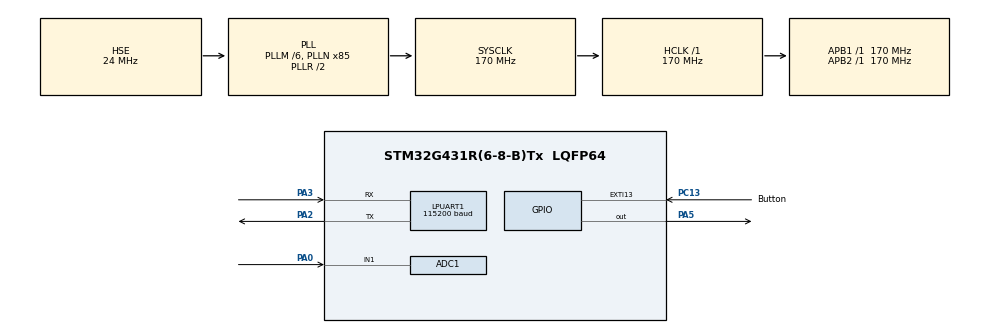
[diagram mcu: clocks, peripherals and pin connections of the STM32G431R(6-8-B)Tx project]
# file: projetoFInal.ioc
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ADC1.Channel-0\#ChannelRegularConversion=ADC_CHANNEL_1
ADC1.ContinuousConvMode=ENABLE
ADC1.DMAContinuousRequests=ENABLE
ADC1.ExternalTrigConv=ADC_SOFTWARE_START
ADC1.ExternalTrigConvEdge=ADC_EXTERNALTRIGCONVEDGE_NONE
ADC1.NbrOfConversionFlag=1
ADC1.OffsetNumber-0\#ChannelRegularConversion=ADC_OFFSET_NONE
ADC1.Rank-0\#ChannelRegularConversion=1
ADC1.SamplingTime-0\#ChannelRegularConversion=ADC_SAMPLETIME_2CYCLES_5
ADC1.master=1
Dma.ADC1.0.Direction=DMA_PERIPH_TO_MEMORY
Dma.ADC1.0.EventEnable=DISABLE
Dma.ADC1.0.Instance=DMA1_Channel1
Dma.ADC1.0.MemDataAlignment=DMA_MDATAALIGN_HALFWORD
Dma.ADC1.0.MemInc=DMA_MINC_ENABLE
Dma.ADC1.0.Mode=DMA_CIRCULAR
Dma.ADC1.0.PeriphDataAlignment=DMA_PDATAALIGN_HALFWORD
Dma.ADC1.0.PeriphInc=DMA_PINC_DISABLE
Dma.ADC1.0.Polarity=HAL_DMAMUX_REQ_GEN_RISING
Dma.ADC1.0.Priority=DMA_PRIORITY_LOW
Dma.ADC1.0.RequestNumber=1
Dma.ADC1.0.SignalID=NONE
Dma.ADC1.0.SyncEnable=DISABLE
Dma.ADC1.0.SyncPolarity=HAL_DMAMUX_SYNC_NO_EVENT
Dma.ADC1.0.SyncRequestNumber=1
Dma.ADC1.0.SyncSignalID=NONE
Dma.Request0=ADC1
FREERTOS.Tasks01=defaultTask,0,128,StartDefaultTask,Default,NULL,Dynamic,NULL,NULL
FREERTOS.configENABLE_FPU=1
FREERTOS.configTOTAL_HEAP_SIZE=8196
FREERTOS.configUSE_NEWLIB_REENTRANT=1
LPUART1.BaudRate=115200
Mcu.Family=STM32G4
Mcu.Name=STM32G431R(6-8-B)Tx
Mcu.Package=LQFP64
NVIC.ADC1_2_IRQn=true\:5\:0\:false\:false\:true\:true\:true\:true\:true
NVIC.DMA1_Channel1_IRQn=true\:5\:0\:false\:false\:true\:true\:false\:true\:true
NVIC.EXTI15_10_IRQn=true\:5\:0\:false\:false\:true\:true\:true\:true\:true
NVIC.LPUART1_IRQn=true\:5\:0\:false\:false\:true\:true\:true\:true\:true
NVIC.PriorityGroup=NVIC_PRIORITYGROUP_4
NVIC.TIM1_UP_TIM16_IRQn=true\:15\:0\:false\:false\:true\:false\:false\:true\:true
NVIC.TIM3_IRQn=true\:5\:0\:false\:false\:true\:true\:true\:true\:true
NVIC.TimeBase=TIM1_UP_TIM16_IRQn
NVIC.TimeBaseIP=TIM1
PA0.Mode=IN1-Single-Ended
PA0.Signal=ADC1_IN1
PA13.Mode=Serial_Wire
PA13.Signal=SYS_JTMS-SWDIO
PA14.Mode=Serial_Wire
PA14.Signal=SYS_JTCK-SWCLK
PA2.Mode=Asynchronous
PA2.Signal=LPUART1_TX
PA3.Mode=Asynchronous
PA3.Signal=LPUART1_RX
PA5.Signal=GPIO_Output
PC13.GPIO_Label=Button
PC13.GPIO_PuPd=GPIO_PULLDOWN
PC13.Signal=GPXTI13
PF0-OSC_IN.Mode=HSE-External-Oscillator
PF0-OSC_IN.Signal=RCC_OSC_IN
PF1-OSC_OUT.Mode=HSE-External-Oscillator
PF1-OSC_OUT.Signal=RCC_OSC_OUT
ProjectManager.HeapSize=0x200
ProjectManager.StackSize=0x400
ProjectManager.TargetToolchain=STM32CubeIDE
RCC.ADC12Freq_Value=170000000
RCC.AHBFreq_Value=170000000
RCC.APB1Freq_Value=170000000
RCC.APB1TimFreq_Value=170000000
RCC.APB2Freq_Value=170000000
RCC.APB2TimFreq_Value=170000000
RCC.CortexFreq_Value=170000000
RCC.EXTERNAL_CLOCK_VALUE=12288000
RCC.HCLKFreq_Value=170000000
RCC.HSE_VALUE=24000000
RCC.HSI48_VALUE=48000000
RCC.HSI_VALUE=16000000
RCC.LSE_VALUE=32768
RCC.PLLM=RCC_PLLM_DIV6
RCC.PLLN=85
RCC.PLLSourceVirtual=RCC_PLLSOURCE_HSE
RCC.SYSCLKFreq_VALUE=170000000
RCC.SYSCLKSource=RCC_SYSCLKSOURCE_PLLCLK
RCC.USBFreq_Value=170000000
RCC.VCOOutputFreq_Value=340000000
TIM3.PeriodNoDither=99
TIM3.Prescaler=1699
VP_FREERTOS_VS_CMSIS_V1.Mode=CMSIS_V1
VP_SYS_VS_DBSignals.Mode=DisableDeadBatterySignals
VP_SYS_VS_tim1.Mode=TIM1
VP_TIM3_VS_ClockSourceINT.Mode=Internal
board=custom

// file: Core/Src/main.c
/* USER CODE BEGIN Header */
/**
  ******************************************************************************
  * @file           : main.c
  * @brief          : Main program body
  ******************************************************************************
  * @attention
  *
  * Copyright (c) 2025 STMicroelectronics.
  * All rights reserved.
  *
  * This software is licensed under terms that can be found in the LICENSE file
  * in the root directory of this software component.
  * If no LICENSE file comes with this software, it is provided AS-IS.
  *
  ******************************************************************************
  */
/* USER CODE END Header */
#include "main.h"
#include "cmsis_os.h"

/* USER CODE BEGIN Includes */
#include "semphr.h"
#include "queue.h"
#include <stdio.h>
#include <string.h>

/* USER CODE END Includes */

/* USER CODE BEGIN PTD */
typedef struct {
	GPIO_TypeDef* port;
	uint16_t pin;
	TickType_t time;
}led_t;

typedef struct {
    uint16_t valor;
    float tensao;
}ecg_data_t;
/* USER CODE END PTD */

/* USER CODE BEGIN PD */
#define ECG_BUFFER_SIZE 512
#define ECG_SAMPLE_RATE_HZ 250
#define ECG_SAMPLE_PERIOD_MS (1000 / ECG_SAMPLE_RATE_HZ)
#define ADC_VREF 3.3f
#define ADC_RESOLUTION 4096.0f
#define DMA_BUFFER_SIZE 1
/* USER CODE END PD */

ADC_HandleTypeDef hadc1;
DMA_HandleTypeDef hdma_adc1;

UART_HandleTypeDef hlpuart1;

TIM_HandleTypeDef htim3;

/* USER CODE BEGIN PV */
SemaphoreHandle_t bSemaphore;
SemaphoreHandle_t lSemaphore;
SemaphoreHandle_t sUART;
SemaphoreHandle_t mUART;
SemaphoreHandle_t adcSemaphore;
QueueHandle_t ecgQueue;

TaskHandle_t xecg_task = NULL;
TaskHandle_t xuart_task = NULL;

char sinal = 0;
uint8_t *Sstring = (uint8_t *) "Sensor desligado!\n\r";

static ecg_data_t ecg_buffer[ECG_BUFFER_SIZE];
static uint16_t buffer_head = 0;
static uint16_t buffer_tail = 0;
static uint16_t buffer_count = 0;

// Buffer DMA para ADC
volatile uint16_t adc_dma_buffer[DMA_BUFFER_SIZE];
volatile uint8_t adc_conversion_complete = 0;
/* USER CODE END PV */

void SystemClock_Config(void);
static void MX_GPIO_Init(void);
static void MX_DMA_Init(void);
static void MX_LPUART1_UART_Init(void);
static void MX_TIM3_Init(void);
static void MX_ADC1_Init(void);

/* USER CODE BEGIN PFP */
void ecg_task(void *args);
void add_to_ecg_buffer(ecg_data_t *data);
float apply_simple_filter(float input);
/* USER CODE END PFP */

/* USER CODE BEGIN 0 */

void led_task(void *args){
	led_t *led = (led_t *) args;

	while(1){
		if(xSemaphoreTake(lSemaphore,portMAX_DELAY)==pdTRUE){
			HAL_GPIO_TogglePin(led->port, led->pin);
		}
	}
}

void button_task(void *args){

	while(1){

		if(xSemaphoreTake(bSemaphore,portMAX_DELAY)==pdTRUE){
			vTaskDelay(50);
			xSemaphoreGive(lSemaphore);
			if(sinal==1){
				sinal=0;
				Sstring = (uint8_t *) "Sensor desligado!\n\r";
				vTaskSuspend(xecg_task);
				HAL_TIM_Base_Stop_IT(&htim3);
			}else{
				sinal=1;
				Sstring = (uint8_t *) "Sensor ligado!\n\r";
				vTaskResume(xuart_task);
				vTaskResume(xecg_task);
				HAL_TIM_Base_Start_IT(&htim3);
			}
			HAL_NVIC_EnableIRQ(EXTI15_10_IRQn);
		}
	}
}

void uart_task(void *argument){
	char uart_buffer[100];
	ecg_data_t ecg_data;

	while(1){

		if(sinal==0){
			if(xSemaphoreTake(mUART,portMAX_DELAY)== pdTRUE){
				HAL_UART_Transmit_IT(&hlpuart1, Sstring, 19);
				xSemaphoreTake(sUART, portMAX_DELAY);
				xSemaphoreGive(mUART);
				vTaskSuspend(xuart_task);
			}
		}else{
			if(xQueueReceive(ecgQueue, &ecg_data, portMAX_DELAY) == pdPASS){
				if(xSemaphoreTake(mUART,portMAX_DELAY)== pdTRUE){
					int len = snprintf(uart_buffer, sizeof(uart_buffer),"ECG: %d, %.3fV\n\r",ecg_data.valor, ecg_data.tensao);
					HAL_UART_Transmit_IT(&hlpuart1, (uint8_t*)uart_buffer, len);
					xSemaphoreTake(sUART, portMAX_DELAY);
					xSemaphoreGive(mUART);
				}
			}
		}
	}
}

void ecg_task(void *args){

	while(1){
		if(xSemaphoreTake(adcSemaphore, portMAX_DELAY) == pdTRUE){

			HAL_ADC_Start_DMA(&hadc1, (uint32_t*)adc_dma_buffer, DMA_BUFFER_SIZE);

		}
	}
}

void add_to_ecg_buffer(ecg_data_t *data){
	ecg_buffer[buffer_head] = *data;
	buffer_head = (buffer_head + 1) % ECG_BUFFER_SIZE;

	if(buffer_count < ECG_BUFFER_SIZE){
		buffer_count++;
	}else{
		buffer_tail = (buffer_tail + 1) % ECG_BUFFER_SIZE;
	}
}

void HAL_UART_TxCpltCallback(UART_HandleTypeDef *huart){
	signed portBASE_TYPE pxHigherPriorityTaskWokenTX = pdFALSE;

	xSemaphoreGiveFromISR(sUART, &pxHigherPriorityTaskWokenTX);
	portYIELD_FROM_ISR(pxHigherPriorityTaskWokenTX);
}

void HAL_ADC_ConvCpltCallback(ADC_HandleTypeDef* hadc){
	BaseType_t xHigherPriorityTaskWoken = pdFALSE;
	ecg_data_t ecg_data;

	if(hadc->Instance == ADC1){

		ecg_data.valor = adc_dma_buffer[0];
		ecg_data.tensao = (ecg_data.valor * ADC_VREF) / ADC_RESOLUTION;
		add_to_ecg_buffer(&ecg_data);
		xQueueSendFromISR(ecgQueue, &ecg_data, &xHigherPriorityTaskWoken);
		HAL_ADC_Stop_DMA(&hadc1);

		portYIELD_FROM_ISR(xHigherPriorityTaskWoken);
	}
}

/* USER CODE END 0 */

int main(void)
{

  /* USER CODE BEGIN 1 */
	static led_t led = {.port = GPIOA, .pin = GPIO_PIN_5, .time = 500};
	//(void)xTaskCreate(button_task, "button_task", 1024, NULL, 7, NULL);

  /* USER CODE END 1 */

  /* MCU Configuration--------------------------------------------------------*/

  /* Reset of all peripherals, Initializes the Flash interface and the Systick. */
  HAL_Init();

  /* Configure the system clock */
  SystemClock_Config();

  /* Initialize all configured peripherals */
  MX_GPIO_Init();
  MX_DMA_Init();
  MX_LPUART1_UART_Init();
  MX_TIM3_Init();
  MX_ADC1_Init();
  /* USER CODE BEGIN 2 */
  HAL_ADCEx_Calibration_Start(&hadc1, ADC_SINGLE_ENDED);
  /* USER CODE END 2 */

  /* USER CODE BEGIN RTOS_SEMAPHORES */
  /* add semaphores, ... */
  bSemaphore = xSemaphoreCreateBinary();
  lSemaphore = xSemaphoreCreateBinary();
  sUART = xSemaphoreCreateBinary();
  mUART = xSemaphoreCreateMutex();
  adcSemaphore = xSemaphoreCreateBinary();
  /* USER CODE END RTOS_SEMAPHORES */

  /* USER CODE BEGIN RTOS_QUEUES */
  /* add queues, ... */
  ecgQueue = xQueueCreate(32, sizeof(ecg_data_t));
  /* USER CODE END RTOS_QUEUES */

  /* Create the thread(s) */
  /* definition and creation of defaultTask */
  /* USER CODE BEGIN RTOS_THREADS */
  /* add threads, ... */
	(void)xTaskCreate(led_task, "led_task", 128, &led, 4, NULL);
	(void)xTaskCreate(uart_task, "uart_task", 256, NULL, 2, &xuart_task);
	(void)xTaskCreate(button_task, "button_task", 256, NULL, 3, NULL);
	(void)xTaskCreate(ecg_task, "ecg_task", 256, NULL, 1, &xecg_task);
  /* USER CODE END RTOS_THREADS */

  /* Start scheduler */
  osKernelStart();

  /* We should never get here as control is now taken by the scheduler */

  /* Infinite loop */
  while (1)
  {

  }
}

void SystemClock_Config(void)
{
  RCC_OscInitTypeDef RCC_OscInitStruct = {0};
  RCC_ClkInitTypeDef RCC_ClkInitStruct = {0};

  /** Configure the main internal regulator output voltage
  */
  HAL_PWREx_ControlVoltageScaling(PWR_REGULATOR_VOLTAGE_SCALE1_BOOST);

  /** Initializes the RCC Oscillators according to the specified parameters
  * in the RCC_OscInitTypeDef structure.
  */
  RCC_OscInitStruct.OscillatorType = RCC_OSCILLATORTYPE_HSE;
  RCC_OscInitStruct.HSEState = RCC_HSE_ON;
  RCC_OscInitStruct.PLL.PLLState = RCC_PLL_ON;
  RCC_OscInitStruct.PLL.PLLSource = RCC_PLLSOURCE_HSE;
  RCC_OscInitStruct.PLL.PLLM = RCC_PLLM_DIV6;
  RCC_OscInitStruct.PLL.PLLN = 85;
  RCC_OscInitStruct.PLL.PLLP = RCC_PLLP_DIV2;
  RCC_OscInitStruct.PLL.PLLQ = RCC_PLLQ_DIV2;
  RCC_OscInitStruct.PLL.PLLR = RCC_PLLR_DIV2;
  if (HAL_RCC_OscConfig(&RCC_OscInitStruct) != HAL_OK)
  {
    Error_Handler();
  }

  /** Initializes the CPU, AHB and APB buses clocks
  */
  RCC_ClkInitStruct.ClockType = RCC_CLOCKTYPE_HCLK|RCC_CLOCKTYPE_SYSCLK
                              |RCC_CLOCKTYPE_PCLK1|RCC_CLOCKTYPE_PCLK2;
  RCC_ClkInitStruct.SYSCLKSource = RCC_SYSCLKSOURCE_PLLCLK;
  RCC_ClkInitStruct.AHBCLKDivider = RCC_SYSCLK_DIV1;
  RCC_ClkInitStruct.APB1CLKDivider = RCC_HCLK_DIV1;
  RCC_ClkInitStruct.APB2CLKDivider = RCC_HCLK_DIV1;

  if (HAL_RCC_ClockConfig(&RCC_ClkInitStruct, FLASH_LATENCY_4) != HAL_OK)
  {
    Error_Handler();
  }
}

static void MX_ADC1_Init(void)
{

  ADC_MultiModeTypeDef multimode = {0};
  ADC_ChannelConfTypeDef sConfig = {0};

  /** Common config
  */
  hadc1.Instance = ADC1;
  hadc1.Init.ClockPrescaler = ADC_CLOCK_SYNC_PCLK_DIV4;
  hadc1.Init.Resolution = ADC_RESOLUTION_12B;
  hadc1.Init.DataAlign = ADC_DATAALIGN_RIGHT;
  hadc1.Init.GainCompensation = 0;
  hadc1.Init.ScanConvMode = ADC_SCAN_DISABLE;
  hadc1.Init.EOCSelection = ADC_EOC_SINGLE_CONV;
  hadc1.Init.LowPowerAutoWait = DISABLE;
  hadc1.Init.ContinuousConvMode = DISABLE;
  hadc1.Init.NbrOfConversion = 1;
  hadc1.Init.DiscontinuousConvMode = DISABLE;
  hadc1.Init.ExternalTrigConv = ADC_SOFTWARE_START;
  hadc1.Init.ExternalTrigConvEdge = ADC_EXTERNALTRIGCONVEDGE_NONE;
  hadc1.Init.DMAContinuousRequests = DISABLE;
  hadc1.Init.Overrun = ADC_OVR_DATA_PRESERVED;
  hadc1.Init.OversamplingMode = DISABLE;
  if (HAL_ADC_Init(&hadc1) != HAL_OK)
  {
    Error_Handler();
  }

  /** Configure the ADC multi-mode
  */
  multimode.Mode = ADC_MODE_INDEPENDENT;
  if (HAL_ADCEx_MultiModeConfigChannel(&hadc1, &multimode) != HAL_OK)
  {
    Error_Handler();
  }

  /** Configure Regular Channel
  */
  sConfig.Channel = ADC_CHANNEL_1;
  sConfig.Rank = ADC_REGULAR_RANK_1;
  sConfig.SamplingTime = ADC_SAMPLETIME_2CYCLES_5;
  sConfig.SingleDiff = ADC_SINGLE_ENDED;
  sConfig.OffsetNumber = ADC_OFFSET_NONE;
  sConfig.Offset = 0;
  if (HAL_ADC_ConfigChannel(&hadc1, &sConfig) != HAL_OK)
  {
    Error_Handler();
  }

}

static void MX_LPUART1_UART_Init(void)
{

  hlpuart1.Instance = LPUART1;
  hlpuart1.Init.BaudRate = 115200;
  hlpuart1.Init.WordLength = UART_WORDLENGTH_8B;
  hlpuart1.Init.StopBits = UART_STOPBITS_1;
  hlpuart1.Init.Parity = UART_PARITY_NONE;
  hlpuart1.Init.Mode = UART_MODE_TX_RX;
  hlpuart1.Init.HwFlowCtl = UART_HWCONTROL_NONE;
  hlpuart1.Init.OneBitSampling = UART_ONE_BIT_SAMPLE_DISABLE;
  hlpuart1.Init.ClockPrescaler = UART_PRESCALER_DIV1;
  hlpuart1.AdvancedInit.AdvFeatureInit = UART_ADVFEATURE_NO_INIT;
  if (HAL_UART_Init(&hlpuart1) != HAL_OK)
  {
    Error_Handler();
  }
  if (HAL_UARTEx_SetTxFifoThreshold(&hlpuart1, UART_TXFIFO_THRESHOLD_1_8) != HAL_OK)
  {
    Error_Handler();
  }
  if (HAL_UARTEx_SetRxFifoThreshold(&hlpuart1, UART_RXFIFO_THRESHOLD_1_8) != HAL_OK)
  {
    Error_Handler();
  }
  if (HAL_UARTEx_DisableFifoMode(&hlpuart1) != HAL_OK)
  {
    Error_Handler();
  }

}

static void MX_TIM3_Init(void)
{

  TIM_ClockConfigTypeDef sClockSourceConfig = {0};
  TIM_MasterConfigTypeDef sMasterConfig = {0};

  htim3.Instance = TIM3;
  htim3.Init.Prescaler = 1699;
  htim3.Init.CounterMode = TIM_COUNTERMODE_UP;
  htim3.Init.Period = 99;
  htim3.Init.ClockDivision = TIM_CLOCKDIVISION_DIV1;
  htim3.Init.AutoReloadPreload = TIM_AUTORELOAD_PRELOAD_DISABLE;
  if (HAL_TIM_Base_Init(&htim3) != HAL_OK)
  {
    Error_Handler();
  }
  sClockSourceConfig.ClockSource = TIM_CLOCKSOURCE_INTERNAL;
  if (HAL_TIM_ConfigClockSource(&htim3, &sClockSourceConfig) != HAL_OK)
  {
    Error_Handler();
  }
  sMasterConfig.MasterOutputTrigger = TIM_TRGO_RESET;
  sMasterConfig.MasterSlaveMode = TIM_MASTERSLAVEMODE_DISABLE;
  if (HAL_TIMEx_MasterConfigSynchronization(&htim3, &sMasterConfig) != HAL_OK)
  {
    Error_Handler();
  }

}

static void MX_DMA_Init(void)
{

  /* DMA controller clock enable */
  __HAL_RCC_DMAMUX1_CLK_ENABLE();
  __HAL_RCC_DMA1_CLK_ENABLE();

  /* DMA interrupt init */
  /* DMA1_Channel1_IRQn interrupt configuration */
  HAL_NVIC_SetPriority(DMA1_Channel1_IRQn, 5, 0);
  HAL_NVIC_EnableIRQ(DMA1_Channel1_IRQn);

}

static void MX_GPIO_Init(void)
{
  GPIO_InitTypeDef GPIO_InitStruct = {0};

  /* GPIO Ports Clock Enable */
  __HAL_RCC_GPIOC_CLK_ENABLE();
  __HAL_RCC_GPIOF_CLK_ENABLE();
  __HAL_RCC_GPIOA_CLK_ENABLE();

  /*Configure GPIO pin Output Level */
  HAL_GPIO_WritePin(GPIOA, GPIO_PIN_5, GPIO_PIN_RESET);

  /*Configure GPIO pin : Button_Pin */
  GPIO_InitStruct.Pin = Button_Pin;
  GPIO_InitStruct.Mode = GPIO_MODE_IT_RISING;
  GPIO_InitStruct.Pull = GPIO_PULLDOWN;
  HAL_GPIO_Init(Button_GPIO_Port, &GPIO_InitStruct);

  /*Configure GPIO pin : PA5 */
  GPIO_InitStruct.Pin = GPIO_PIN_5;
  GPIO_InitStruct.Mode = GPIO_MODE_OUTPUT_PP;
  GPIO_InitStruct.Pull = GPIO_NOPULL;
  GPIO_InitStruct.Speed = GPIO_SPEED_FREQ_LOW;
  HAL_GPIO_Init(GPIOA, &GPIO_InitStruct);

  /* EXTI interrupt init*/
  HAL_NVIC_SetPriority(EXTI15_10_IRQn, 5, 0);
  HAL_NVIC_EnableIRQ(EXTI15_10_IRQn);

}

/* USER CODE BEGIN 4 */
void HAL_GPIO_EXTI_Callback(uint16_t GPIO_Pin)
{
	BaseType_t xHigherPriorityTaskWoken = pdFALSE;
	if (GPIO_Pin == Button_Pin)
	{
		HAL_NVIC_DisableIRQ(EXTI15_10_IRQn);
		xSemaphoreGiveFromISR(bSemaphore, &xHigherPriorityTaskWoken);
		portYIELD_FROM_ISR(xHigherPriorityTaskWoken);
	}
}
/* USER CODE END 4 */

void HAL_TIM_PeriodElapsedCallback(TIM_HandleTypeDef *htim)
{
  if (htim->Instance == TIM1)
  {
    HAL_IncTick();
  }
  /* USER CODE BEGIN Callback 1 */
  if (htim->Instance == TIM3)
  {
	  BaseType_t xHigherPriorityTaskWoken = pdFALSE;
	  xSemaphoreGiveFromISR(adcSemaphore, &xHigherPriorityTaskWoken);
	  portYIELD_FROM_ISR(xHigherPriorityTaskWoken);
  }
  /* USER CODE END Callback 1 */
}

void Error_Handler(void)
{
  __disable_irq();
  while (1)
  {
  }
}
